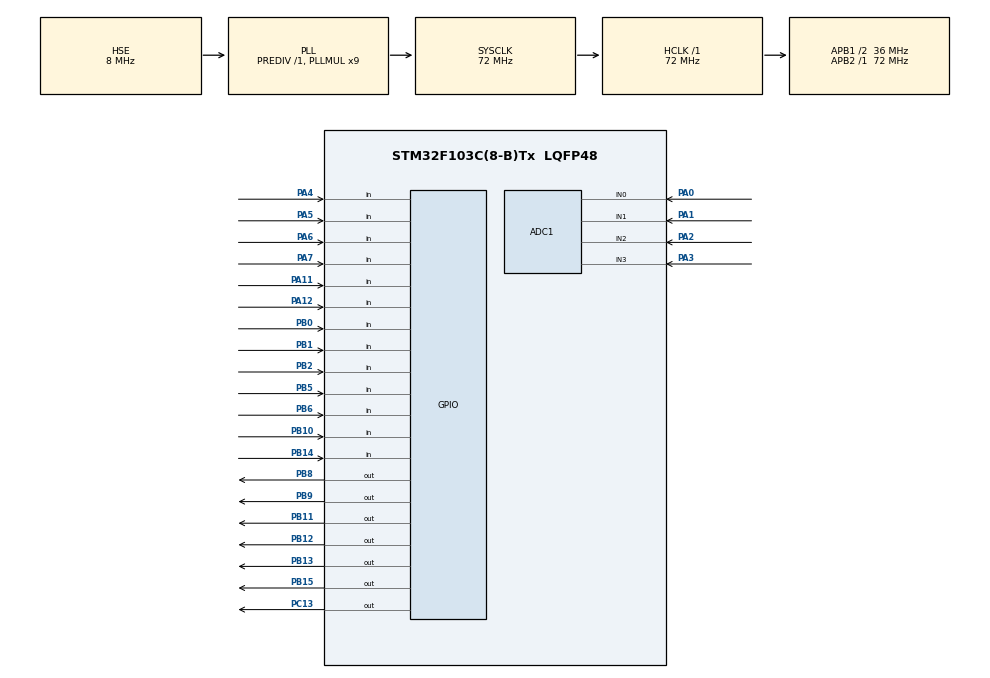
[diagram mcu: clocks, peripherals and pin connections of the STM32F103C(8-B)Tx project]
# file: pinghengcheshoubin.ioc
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ADC1.Channel-0\#ChannelRegularConversion=ADC_CHANNEL_0
ADC1.NbrOfConversion=1
ADC1.NbrOfConversionFlag=1
ADC1.Rank-0\#ChannelRegularConversion=1
ADC1.SamplingTime-0\#ChannelRegularConversion=ADC_SAMPLETIME_55CYCLES_5
ADC1.master=1
FREERTOS.Tasks01=OLED_Task,24,512,OLEDTask,Default,NULL,Dynamic,NULL,NULL;KEY_Task,24,128,KEYTask,Default,NULL,Dynamic,NULL,NULL;AD_Task,24,128,ADTask,Default,NULL,Dynamic,NULL,NULL;NRF_Task,24,512,NRFTask,Default,NULL,Dynamic,NULL,NULL
FREERTOS.configTOTAL_HEAP_SIZE=8192
Mcu.Family=STM32F1
Mcu.Name=STM32F103C(8-B)Tx
Mcu.Package=LQFP48
NVIC.ADC1_2_IRQn=true\:5\:0\:false\:false\:true\:true\:true\:true\:true
NVIC.PriorityGroup=NVIC_PRIORITYGROUP_4
NVIC.TIM1_UP_IRQn=true\:15\:0\:false\:false\:true\:false\:false\:true\:true
NVIC.TimeBase=TIM1_UP_IRQn
NVIC.TimeBaseIP=TIM1
PA0-WKUP.Signal=ADCx_IN0
PA1.Signal=ADCx_IN1
PA11.GPIO_PuPd=GPIO_PULLUP
PA11.Signal=GPIO_Input
PA12.GPIO_PuPd=GPIO_PULLUP
PA12.Signal=GPIO_Input
PA13.Mode=Serial_Wire
PA13.Signal=SYS_JTMS-SWDIO
PA14.Mode=Serial_Wire
PA14.Signal=SYS_JTCK-SWCLK
PA2.Signal=ADCx_IN2
PA3.Signal=ADCx_IN3
PA4.GPIO_PuPd=GPIO_PULLUP
PA4.Signal=GPIO_Input
PA5.GPIO_PuPd=GPIO_PULLUP
PA5.Signal=GPIO_Input
PA6.GPIO_PuPd=GPIO_PULLUP
PA6.Signal=GPIO_Input
PA7.GPIO_PuPd=GPIO_PULLUP
PA7.Signal=GPIO_Input
PB0.GPIO_PuPd=GPIO_PULLUP
PB0.Signal=GPIO_Input
PB1.GPIO_PuPd=GPIO_PULLUP
PB1.Signal=GPIO_Input
PB10.GPIO_PuPd=GPIO_PULLUP
PB10.Signal=GPIO_Input
PB11.Signal=GPIO_Output
PB12.Signal=GPIO_Output
PB13.Signal=GPIO_Output
PB14.GPIO_PuPd=GPIO_PULLUP
PB14.Signal=GPIO_Input
PB15.Signal=GPIO_Output
PB2.GPIO_PuPd=GPIO_PULLUP
PB2.Signal=GPIO_Input
PB5.GPIO_PuPd=GPIO_PULLUP
PB5.Signal=GPIO_Input
PB6.GPIO_PuPd=GPIO_PULLUP
PB6.Signal=GPIO_Input
PB8.Signal=GPIO_Output
PB9.Signal=GPIO_Output
PC13-TAMPER-RTC.Signal=GPIO_Output
PC14-OSC32_IN.Mode=LSE-External-Oscillator
PC14-OSC32_IN.Signal=RCC_OSC32_IN
PC15-OSC32_OUT.Mode=LSE-External-Oscillator
PC15-OSC32_OUT.Signal=RCC_OSC32_OUT
PD0-OSC_IN.Mode=HSE-External-Oscillator
PD0-OSC_IN.Signal=RCC_OSC_IN
PD1-OSC_OUT.Mode=HSE-External-Oscillator
PD1-OSC_OUT.Signal=RCC_OSC_OUT
ProjectManager.HeapSize=0x200
ProjectManager.StackSize=0x400
ProjectManager.TargetToolchain=MDK-ARM V5.32
RCC.ADCPresc=RCC_ADCPCLK2_DIV6
RCC.AHBFreq_Value=72000000
RCC.APB1CLKDivider=RCC_HCLK_DIV2
RCC.APB1Freq_Value=36000000
RCC.APB1TimFreq_Value=72000000
RCC.APB2Freq_Value=72000000
RCC.APB2TimFreq_Value=72000000
RCC.HCLKFreq_Value=72000000
RCC.PLLMUL=RCC_PLL_MUL9
RCC.PLLSourceVirtual=RCC_PLLSOURCE_HSE
RCC.SYSCLKFreq_VALUE=72000000
RCC.SYSCLKSource=RCC_SYSCLKSOURCE_PLLCLK
RCC.USBFreq_Value=72000000
SH.ADCx_IN0.0=ADC1_IN0,IN0
SH.ADCx_IN1.0=ADC1_IN1,IN1
SH.ADCx_IN2.0=ADC1_IN2,IN2
SH.ADCx_IN3.0=ADC1_IN3,IN3
VP_FREERTOS_VS_CMSIS_V2.Mode=CMSIS_V2
VP_SYS_VS_tim1.Mode=TIM1
board=custom

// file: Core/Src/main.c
/* USER CODE BEGIN Header */
/**
  ******************************************************************************
  * @file           : main.c
  * @brief          : Main program body
  ******************************************************************************
  * @attention
  *
  * Copyright (c) 2026 STMicroelectronics.
  * All rights reserved.
  *
  * This software is licensed under terms that can be found in the LICENSE file
  * in the root directory of this software component.
  * If no LICENSE file comes with this software, it is provided AS-IS.
  *
  ******************************************************************************
  */
/* USER CODE END Header */
#include "main.h"
#include "cmsis_os.h"
#include "adc.h"
#include "gpio.h"

/* USER CODE BEGIN Includes */
#include "OLED/OLED.h"
#include "KEY/KEY.h"
/* USER CODE END Includes */

void SystemClock_Config(void);
void MX_FREERTOS_Init(void);

int main(void)
{

  /* MCU Configuration--------------------------------------------------------*/

  /* Reset of all peripherals, Initializes the Flash interface and the Systick. */
  HAL_Init();

  /* Configure the system clock */
  SystemClock_Config();

  /* Initialize all configured peripherals */
  MX_GPIO_Init();
  MX_ADC1_Init();
  /* USER CODE BEGIN 2 */
	/* Match the Standard Peripheral Library AD_Init() calibration sequence. */
	if (HAL_ADCEx_Calibration_Start(&hadc1) != HAL_OK)
	{
		Error_Handler();
	}
	OLED_Init();
	__HAL_RCC_AFIO_CLK_ENABLE();
	__HAL_AFIO_REMAP_SWJ_NOJTAG();   // ���� SWD������ JTAG

  /* USER CODE END 2 */

  /* Init scheduler */
  osKernelInitialize();  /* Call init function for freertos objects (in cmsis_os2.c) */
  MX_FREERTOS_Init();

  /* Start scheduler */
  osKernelStart();

  /* We should never get here as control is now taken by the scheduler */

  /* Infinite loop */
  while (1)
  {

  }
}

void SystemClock_Config(void)
{
  RCC_OscInitTypeDef RCC_OscInitStruct = {0};
  RCC_ClkInitTypeDef RCC_ClkInitStruct = {0};
  RCC_PeriphCLKInitTypeDef PeriphClkInit = {0};

  /** Initializes the RCC Oscillators according to the specified parameters
  * in the RCC_OscInitTypeDef structure.
  */
  RCC_OscInitStruct.OscillatorType = RCC_OSCILLATORTYPE_HSE;
  RCC_OscInitStruct.HSEState = RCC_HSE_ON;
  RCC_OscInitStruct.HSEPredivValue = RCC_HSE_PREDIV_DIV1;
  RCC_OscInitStruct.HSIState = RCC_HSI_ON;
  RCC_OscInitStruct.PLL.PLLState = RCC_PLL_ON;
  RCC_OscInitStruct.PLL.PLLSource = RCC_PLLSOURCE_HSE;
  RCC_OscInitStruct.PLL.PLLMUL = RCC_PLL_MUL9;
  if (HAL_RCC_OscConfig(&RCC_OscInitStruct) != HAL_OK)
  {
    Error_Handler();
  }

  /** Initializes the CPU, AHB and APB buses clocks
  */
  RCC_ClkInitStruct.ClockType = RCC_CLOCKTYPE_HCLK|RCC_CLOCKTYPE_SYSCLK
                              |RCC_CLOCKTYPE_PCLK1|RCC_CLOCKTYPE_PCLK2;
  RCC_ClkInitStruct.SYSCLKSource = RCC_SYSCLKSOURCE_PLLCLK;
  RCC_ClkInitStruct.AHBCLKDivider = RCC_SYSCLK_DIV1;
  RCC_ClkInitStruct.APB1CLKDivider = RCC_HCLK_DIV2;
  RCC_ClkInitStruct.APB2CLKDivider = RCC_HCLK_DIV1;

  if (HAL_RCC_ClockConfig(&RCC_ClkInitStruct, FLASH_LATENCY_2) != HAL_OK)
  {
    Error_Handler();
  }
  PeriphClkInit.PeriphClockSelection = RCC_PERIPHCLK_ADC;
  PeriphClkInit.AdcClockSelection = RCC_ADCPCLK2_DIV6;
  if (HAL_RCCEx_PeriphCLKConfig(&PeriphClkInit) != HAL_OK)
  {
    Error_Handler();
  }
}

void HAL_TIM_PeriodElapsedCallback(TIM_HandleTypeDef *htim)
{
  if (htim->Instance == TIM1)
  {
    HAL_IncTick();
  }
}

void Error_Handler(void)
{
  __disable_irq();
  while (1)
  {
  }
}

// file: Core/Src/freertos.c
/* USER CODE BEGIN Header */
/**
  ******************************************************************************
  * File Name          : freertos.c
  * Description        : Code for freertos applications
  ******************************************************************************
  * @attention
  *
  * Copyright (c) 2026 STMicroelectronics.
  * All rights reserved.
  *
  * This software is licensed under terms that can be found in the LICENSE file
  * in the root directory of this software component.
  * If no LICENSE file comes with this software, it is provided AS-IS.
  *
  ******************************************************************************
  */
/* USER CODE END Header */

#include "FreeRTOS.h"
#include "task.h"
#include "main.h"
#include "cmsis_os.h"

/* USER CODE BEGIN Includes */
#include "OLED/OLED.h"
#include "KEY/KEY.h"
#include "AD/AD.h"
#include "NRF24L01/NRF24L01.h"
#include "cmsis_os.h"
#include "adc.h"
/* USER CODE END Includes */

/* USER CODE BEGIN Variables */
#define DeathValue 100
#define Flexibility 100

volatile uint8_t Keynum;						//按键键值
volatile uint16_t adc_val;					//adc数值保存
volatile uint16_t AD_LH,AD_LV,AD_RH,AD_RV;//用于保存12位ADC原始数据
volatile int16_t LH,LV,RH,RV;//用于保存映射后的数据

osMutexId_t NRFMutexHandle;
const osMutexAttr_t NRFMutex_attributes = {
    .name = "NRFMutex"
};
/* USER CODE END Variables */
/* Definitions for OLED_Task */
osThreadId_t OLED_TaskHandle;
const osThreadAttr_t OLED_Task_attributes = {
  .name = "OLED_Task",
  .stack_size = 512 * 4,
  .priority = (osPriority_t) osPriorityNormal,
};
/* Definitions for KEY_Task */
osThreadId_t KEY_TaskHandle;
const osThreadAttr_t KEY_Task_attributes = {
  .name = "KEY_Task",
  .stack_size = 128 * 4,
  .priority = (osPriority_t) osPriorityNormal,
};
/* Definitions for AD_Task */
osThreadId_t AD_TaskHandle;
const osThreadAttr_t AD_Task_attributes = {
  .name = "AD_Task",
  .stack_size = 128 * 4,
  .priority = (osPriority_t) osPriorityNormal,
};
/* Definitions for NRF_Task */
osThreadId_t NRF_TaskHandle;
const osThreadAttr_t NRF_Task_attributes = {
  .name = "NRF_Task",
  .stack_size = 512 * 4,
  .priority = (osPriority_t) osPriorityNormal,
};

/* USER CODE BEGIN FunctionPrototypes */
int16_t DataProcess(uint16_t ADValue);
/* USER CODE END FunctionPrototypes */

void OLEDTask(void *argument);
void KEYTask(void *argument);
void ADTask(void *argument);
void NRFTask(void *argument);

void MX_FREERTOS_Init(void); /* (MISRA C 2004 rule 8.1) */

void MX_FREERTOS_Init(void) {
  /* USER CODE BEGIN Init */
	NRF24L01_Init();
	NRFMutexHandle = osMutexNew(&NRFMutex_attributes);
  /* USER CODE END Init */

  /* Create the thread(s) */
  /* creation of OLED_Task */
  OLED_TaskHandle = osThreadNew(OLEDTask, NULL, &OLED_Task_attributes);

  /* creation of KEY_Task */
  KEY_TaskHandle = osThreadNew(KEYTask, NULL, &KEY_Task_attributes);

  /* creation of AD_Task */
  AD_TaskHandle = osThreadNew(ADTask, NULL, &AD_Task_attributes);

  /* creation of NRF_Task */
  NRF_TaskHandle = osThreadNew(NRFTask, NULL, &NRF_Task_attributes);

}

void OLEDTask(void *argument)
{
  /* USER CODE BEGIN OLEDTask */
	uint32_t ticks = osKernelGetTickCount();
  /* Infinite loop */
  for(;;)
  {
    ticks += 10;
    osDelayUntil(ticks);

		OLED_Printf(0,0,OLED_6X8,"LH:%4d",LH);
		OLED_Printf(0,16,OLED_6X8,"LV:%4d",LV);
		OLED_Printf(0,32,OLED_6X8,"RH:%4d",RH);
		OLED_Printf(0,48,OLED_6X8,"RV:%4d",RV);

		OLED_Printf(60,0,OLED_6X8,"AD_LH:%4d",AD_LH);
		OLED_Printf(60,16,OLED_6X8,"AD_LV:%4d",AD_LV);
		OLED_Printf(60,32,OLED_6X8,"AD_RH:%4d",AD_RH);
		OLED_Printf(60,48,OLED_6X8,"AD_RV:%4d",AD_RV);

		OLED_Update();
  }
  /* USER CODE END OLEDTask */
}

void KEYTask(void *argument)
{
  /* USER CODE BEGIN KEYTask */
  uint32_t ticks = osKernelGetTickCount();
  /* Infinite loop */
  for(;;)
  {
    ticks += 1; // 设定绝对周期为 1ms
    osDelayUntil(ticks); // 无论任务执行了多久，都会在固定的 1ms 节点唤醒

		switch(Key_Scan())
		{
			case 1: 																break;
			case 2:																	break;
			case 3: 																break;
			case 4: 																break;
			default:																break;
		}

  }
  /* USER CODE END KEYTask */
}

void ADTask(void *argument)
{
  /* USER CODE BEGIN ADTask */
  uint32_t ticks = osKernelGetTickCount();
  /* Infinite loop */
  for(;;)
  {
    ticks += 10; // 采样间隔 10ms
    osDelayUntil(ticks);

    // 读取通道，等待超时 5ms
    AD_LH = AD_GetValue(ADC_CHANNEL_0);
		AD_LV = AD_GetValue(ADC_CHANNEL_1);
		AD_RH = AD_GetValue(ADC_CHANNEL_2);
		AD_RV = AD_GetValue(ADC_CHANNEL_3);

    LH = DataProcess(AD_LH);
		LV = DataProcess(AD_LV);
		RH = DataProcess(AD_RH);
		RV = DataProcess(AD_RV);

  }
  /* USER CODE END ADTask */
}

void NRFTask(void *argument)
{
  /* USER CODE BEGIN NRFTask */
	uint32_t ticks = osKernelGetTickCount();
  /* Infinite loop */
  for(;;)
  {
    ticks += 100; // 采样间隔 100ms
    osDelayUntil(ticks);

		uint8_t ret = NRF24L01_Receive();

		if (ret == 1)
		{

		}
//		else if (ret == 2 || ret == 3)
//		{
//				/*驱动已自动重新初始化，可按需重试或记录*/
//		}

		/*-----------发送部分-----------*/
		NRF24L01_TxPacket[0] = LH;
		NRF24L01_TxPacket[1] = LV;
		NRF24L01_TxPacket[2] = RH;
		NRF24L01_TxPacket[3] = RV;

		osMutexAcquire(NRFMutexHandle, osWaitForever);

				NRF24L01_Send();

		osMutexRelease(NRFMutexHandle);
  }
  /* USER CODE END NRFTask */
}

/* USER CODE BEGIN Application */

//将原始值限定在200~-200
int16_t DataProcess(uint16_t ADValue)
{
    int32_t value = (int32_t)ADValue - 2048;

    if (value > DeathValue)
    {
        return (int16_t)((value - DeathValue) * (Flexibility + 1) / (2047 - DeathValue));
    }

    if (value < -DeathValue)
    {
        return (int16_t)((value + DeathValue) * (Flexibility + 1) / (2048 - DeathValue));
    }

    return 0;
}

/* USER CODE END Application */
